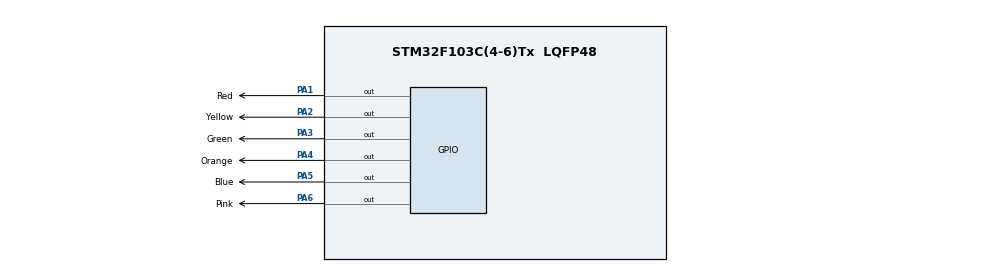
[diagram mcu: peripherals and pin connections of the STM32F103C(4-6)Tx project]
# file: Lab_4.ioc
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Mcu.Family=STM32F1
Mcu.Name=STM32F103C(4-6)Tx
Mcu.Package=LQFP48
NVIC.PriorityGroup=NVIC_PRIORITYGROUP_4
NVIC.TIM2_IRQn=true\:0\:0\:false\:false\:true\:true\:true
PA1.GPIO_Label=Red
PA1.Signal=GPIO_Output
PA2.GPIO_Label=Yellow
PA2.Signal=GPIO_Output
PA3.GPIO_Label=Green
PA3.Signal=GPIO_Output
PA4.GPIO_Label=Orange
PA4.Signal=GPIO_Output
PA5.GPIO_Label=Blue
PA5.Signal=GPIO_Output
PA6.GPIO_Label=Pink
PA6.Signal=GPIO_Output
ProjectManager.HeapSize=0x200
ProjectManager.StackSize=0x400
ProjectManager.TargetToolchain=STM32CubeIDE
RCC.APB1Freq_Value=8000000
RCC.APB2Freq_Value=8000000
TIM2.Period=9
TIM2.Prescaler=7999
VP_SYS_VS_ND.Mode=No_Debug
VP_TIM2_VS_ClockSourceINT.Mode=Internal
board=custom

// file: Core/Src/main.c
/* USER CODE BEGIN Header */
/**
  ******************************************************************************
  * @file           : main.c
  * @brief          : Main program body
  ******************************************************************************
  * @attention
  *
  * <h2><center>&copy; Copyright (c) 2021 STMicroelectronics.
  * All rights reserved.</center></h2>
  *
  * This software component is licensed by ST under BSD 3-Clause license,
  * the "License"; You may not use this file except in compliance with the
  * License. You may obtain a copy of the License at:
  *                        opensource.org/licenses/BSD-3-Clause
  *
  ******************************************************************************
  */
/* USER CODE END Header */
#include "main.h"

TIM_HandleTypeDef htim2;

void SystemClock_Config(void);
static void MX_TIM2_Init(void);
static void MX_GPIO_Init(void);

/* USER CODE BEGIN 0 */
void Red_Display(){
	HAL_GPIO_TogglePin(GPIOA, Red_Pin);
//	HAL_GPIO_WritePin(GPIOA,Red_Pin , GPIO_PIN_RESET);
}
void Yellow_Display(){
	HAL_GPIO_TogglePin(GPIOA, Yellow_Pin);
//	HAL_GPIO_WritePin(GPIOA,Yellow_Pin , GPIO_PIN_RESET);
}
void Green_Display(){
	HAL_GPIO_TogglePin(GPIOA, Green_Pin);
//	HAL_GPIO_WritePin(GPIOA,Green_Pin , GPIO_PIN_RESET);
}
void Orange_Display(){
	HAL_GPIO_TogglePin(GPIOA, Orange_Pin);
//	HAL_GPIO_WritePin(GPIOA,Orange_Pin , GPIO_PIN_RESET);
}
void Blue_Display(){
	HAL_GPIO_TogglePin(GPIOA, Blue_Pin);
//	HAL_GPIO_WritePin(GPIOA,Blue_Pin , GPIO_PIN_RESET);
}
void Pink_Display(){
	HAL_GPIO_TogglePin(GPIOA, Pink_Pin);
//	HAL_GPIO_WritePin(GPIOA,Pink_Pin , GPIO_PIN_RESET);
}

//void clear_all(){
//	HAL_GPIO_WritePin(GPIOA,Red_Pin , GPIO_PIN_SET);
//	HAL_GPIO_WritePin(GPIOA,Yellow_Pin , GPIO_PIN_SET);
//	HAL_GPIO_WritePin(GPIOA,Green_Pin , GPIO_PIN_SET);
//	HAL_GPIO_WritePin(GPIOA,Orange_Pin , GPIO_PIN_SET);
//	HAL_GPIO_WritePin(GPIOA,Blue_Pin , GPIO_PIN_SET);
//	HAL_GPIO_WritePin(GPIOA,Pink_Pin , GPIO_PIN_SET);
//}
/* USER CODE END 0 */

int main(void)
{

  /* MCU Configuration--------------------------------------------------------*/

  /* Reset of all peripherals, Initializes the Flash interface and the Systick. */
  HAL_Init();

  /* Configure the system clock */
  SystemClock_Config();

  /* Initialize all configured peripherals */
  MX_TIM2_Init();
  MX_GPIO_Init();
  /* USER CODE BEGIN 2 */
  HAL_TIM_Base_Start_IT (& htim2 );
  /* USER CODE END 2 */

  /* Infinite loop */
  /* USER CODE BEGIN WHILE */
  	HAL_GPIO_WritePin(GPIOA,Red_Pin , GPIO_PIN_SET);
  	HAL_GPIO_WritePin(GPIOA,Yellow_Pin , GPIO_PIN_SET);
  	HAL_GPIO_WritePin(GPIOA,Green_Pin , GPIO_PIN_SET);
  	HAL_GPIO_WritePin(GPIOA,Orange_Pin , GPIO_PIN_SET);
  	HAL_GPIO_WritePin(GPIOA,Blue_Pin , GPIO_PIN_SET);
  	HAL_GPIO_WritePin(GPIOA,Pink_Pin , GPIO_PIN_SET);
  SCH_Init();
  SCH_Add_Task(Red_Display,0, 100);
  SCH_Add_Task(Yellow_Display,100, 100);
  SCH_Add_Task(Green_Display,200, 100);
  SCH_Add_Task(Orange_Display,300, 100);
  SCH_Add_Task(Blue_Display,400, 100);
  SCH_Add_Task(Pink_Display,500, 100);
  while (1)
  {
	  SCH_Dispatch_Tasks();
    /* USER CODE END WHILE */

  }
}

void SystemClock_Config(void)
{
  RCC_OscInitTypeDef RCC_OscInitStruct = {0};
  RCC_ClkInitTypeDef RCC_ClkInitStruct = {0};

  /** Initializes the RCC Oscillators according to the specified parameters
  * in the RCC_OscInitTypeDef structure.
  */
  RCC_OscInitStruct.OscillatorType = RCC_OSCILLATORTYPE_HSI;
  RCC_OscInitStruct.HSIState = RCC_HSI_ON;
  RCC_OscInitStruct.HSICalibrationValue = RCC_HSICALIBRATION_DEFAULT;
  RCC_OscInitStruct.PLL.PLLState = RCC_PLL_NONE;
  if (HAL_RCC_OscConfig(&RCC_OscInitStruct) != HAL_OK)
  {
    Error_Handler();
  }
  /** Initializes the CPU, AHB and APB buses clocks
  */
  RCC_ClkInitStruct.ClockType = RCC_CLOCKTYPE_HCLK|RCC_CLOCKTYPE_SYSCLK
                              |RCC_CLOCKTYPE_PCLK1|RCC_CLOCKTYPE_PCLK2;
  RCC_ClkInitStruct.SYSCLKSource = RCC_SYSCLKSOURCE_HSI;
  RCC_ClkInitStruct.AHBCLKDivider = RCC_SYSCLK_DIV1;
  RCC_ClkInitStruct.APB1CLKDivider = RCC_HCLK_DIV1;
  RCC_ClkInitStruct.APB2CLKDivider = RCC_HCLK_DIV1;

  if (HAL_RCC_ClockConfig(&RCC_ClkInitStruct, FLASH_LATENCY_0) != HAL_OK)
  {
    Error_Handler();
  }
}

static void MX_TIM2_Init(void)
{

  TIM_ClockConfigTypeDef sClockSourceConfig = {0};
  TIM_MasterConfigTypeDef sMasterConfig = {0};

  htim2.Instance = TIM2;
  htim2.Init.Prescaler = 7999;
  htim2.Init.CounterMode = TIM_COUNTERMODE_UP;
  htim2.Init.Period = 9;
  htim2.Init.ClockDivision = TIM_CLOCKDIVISION_DIV1;
  htim2.Init.AutoReloadPreload = TIM_AUTORELOAD_PRELOAD_DISABLE;
  if (HAL_TIM_Base_Init(&htim2) != HAL_OK)
  {
    Error_Handler();
  }
  sClockSourceConfig.ClockSource = TIM_CLOCKSOURCE_INTERNAL;
  if (HAL_TIM_ConfigClockSource(&htim2, &sClockSourceConfig) != HAL_OK)
  {
    Error_Handler();
  }
  sMasterConfig.MasterOutputTrigger = TIM_TRGO_RESET;
  sMasterConfig.MasterSlaveMode = TIM_MASTERSLAVEMODE_DISABLE;
  if (HAL_TIMEx_MasterConfigSynchronization(&htim2, &sMasterConfig) != HAL_OK)
  {
    Error_Handler();
  }

}

static void MX_GPIO_Init(void)
{
  GPIO_InitTypeDef GPIO_InitStruct = {0};

  /* GPIO Ports Clock Enable */
  __HAL_RCC_GPIOA_CLK_ENABLE();

  /*Configure GPIO pin Output Level */
  HAL_GPIO_WritePin(GPIOA, Red_Pin|Yellow_Pin|Green_Pin|Orange_Pin
                          |Blue_Pin|Pink_Pin, GPIO_PIN_RESET);

  /*Configure GPIO pins : Red_Pin Yellow_Pin Green_Pin Orange_Pin
                           Blue_Pin Pink_Pin */
  GPIO_InitStruct.Pin = Red_Pin|Yellow_Pin|Green_Pin|Orange_Pin
                          |Blue_Pin|Pink_Pin;
  GPIO_InitStruct.Mode = GPIO_MODE_OUTPUT_PP;
  GPIO_InitStruct.Pull = GPIO_NOPULL;
  GPIO_InitStruct.Speed = GPIO_SPEED_FREQ_LOW;
  HAL_GPIO_Init(GPIOA, &GPIO_InitStruct);

}

/* USER CODE BEGIN 4 */
void HAL_TIM_PeriodElapsedCallback (TIM_HandleTypeDef *htim) {
	SCH_Update();
}
/* USER CODE END 4 */

void Error_Handler(void)
{
  __disable_irq();
  while (1)
  {
  }
}

/************************ (C) COPYRIGHT STMicroelectronics *****END OF FILE****/
